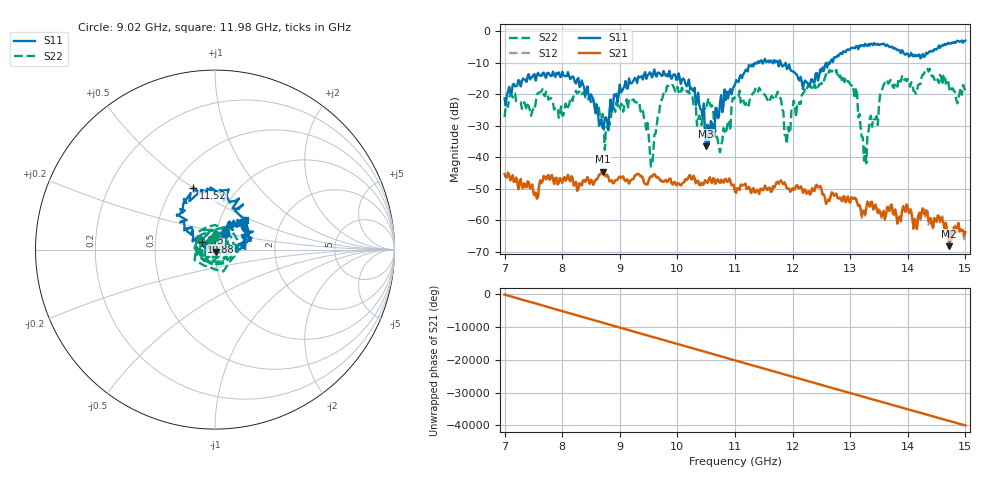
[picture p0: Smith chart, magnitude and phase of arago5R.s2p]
!Keysight Technologies,N5242B,MY47200105,A.14.00.23
!Date: Friday, April 26, 2024 11:21:09
!Correction: S11(C  2-Port  )
!S21(C  2-Port  )
!S12(C  2-Port  )
!S22(C  2-Port  )
!S2P File: Measurement: :
# Hz S  RI  R 50
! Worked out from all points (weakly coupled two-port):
!   401 points, 7 GHz to 15 GHz, reference 50 ohm
!   highest |S21| = -44.68 dB at 8.7 GHz (marker M1); lowest = -68.3 dB at 14.72 GHz (marker M2)
!   lowest |S11| = -36.5 dB at 10.5 GHz (marker M3), VSWR 1.03, Z = 50.6 - j1.36 ohm
!   |S11| at or under -10 dB: start of sweep to 11.39 GHz; 11.4179 GHz to 11.4215 GHz (3.602 MHz wide, 0.0315 % of centre); 11.79 GHz to 12.65 GHz (854.4 MHz wide, 6.99 % of centre) (the widest 3 of 6)
!   |S22| runs from -43.0 to -12.0 dB; largest |S21 - S12| = 0.00026
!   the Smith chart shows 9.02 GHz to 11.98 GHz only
!   S11 on the Smith chart (normalised r, x): 9.02 GHz: 1.10, +0.20; 10.88 GHz: 0.86, +0.07; 11.52 GHz: 0.63, +0.50; 11.98 GHz: 1.31, +0.46
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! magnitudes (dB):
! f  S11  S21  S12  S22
! 7 GHz  -21.4  -45.4  -45.4  -27.3
! 8.34 GHz  -15.7  -49.1  -49.0  -20.0
! 8.7 GHz  -30.7  -44.7  -44.7  -26.3
! 9.02 GHz  -19.5  -46.7  -46.7  -23.1
! 9.3 GHz  -16.5  -45.4  -45.5  -22.8
! 9.54 GHz  -13.6  -46.1  -46.2  -43.0
! 9.68 GHz  -13.2  -46.7  -46.8  -26.8
! 10.22 GHz  -18.4  -45.7  -45.7  -20.5
! 10.5 GHz  -36.5  -47.9  -47.8  -25.0
! 10.74 GHz  -22.8  -48.2  -48.2  -38.5
! 10.88 GHz  -21.4  -47.7  -47.8  -28.7
! 11 GHz  -17.1  -51.0  -50.9  -20.9
! 11.52 GHz  -8.8  -49.1  -48.9  -20.4
! 11.76 GHz  -11.2  -48.5  -48.4  -20.5
! 11.9 GHz  -12.1  -49.9  -49.8  -35.9
! 11.98 GHz  -12.6  -50.5  -50.5  -24.8
! 12.34 GHz  -15.3  -49.8  -50.0  -18.8
! 12.98 GHz  -6.0  -53.8  -54.1  -16.2
! 13.24 GHz  -4.8  -57.1  -56.8  -41.2
! 13.68 GHz  -5.1  -57.1  -57.1  -16.2
! 14.72 GHz  -4.0  -68.3  -66.4  -18.5
! 15 GHz  -3.0  -63.8  -64.4  -18.8
